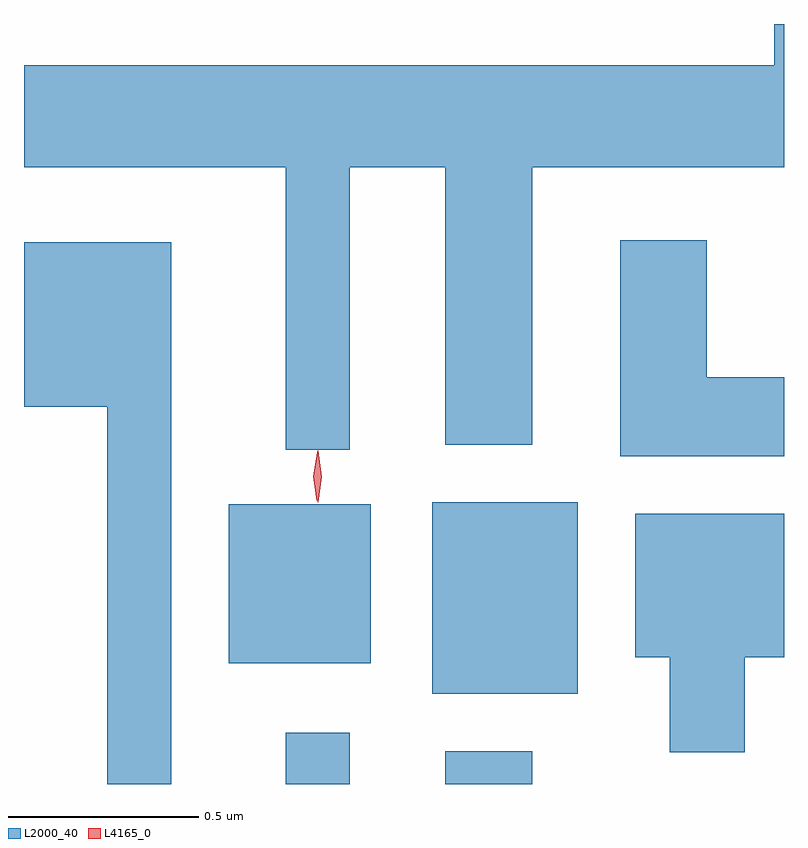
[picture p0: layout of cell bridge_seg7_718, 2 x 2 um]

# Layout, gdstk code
import gdstk
lib = gdstk.Library(unit=1e-6, precision=1e-09)
def R(c, l, rs):  # rectangles x0, y0, x1, y1
    for r in rs: c.add(gdstk.rectangle(r[:2], r[2:], *l))
def P(c, l, *ps):  # polygons
    for p in ps: c.add(gdstk.Polygon(p, *l))
L2000_40 = (2000, 40)
L4165_0 = (4165, 0)

bridge_seg7_718 = lib.new_cell('bridge_seg7_718')
R(bridge_seg7_718, L2000_40, [(920.861,1694.933,921.029,1695.068), (921.281,1694.933,921.509,1695.019), (921.246,1695.171,921.629,1695.674), (920.711,1695.251,921.084,1695.669)])
P(bridge_seg7_718, L2000_40, [(921.029,1696.556),(921.281,1696.556),(921.281,1695.826),(921.509,1695.826),(921.509,1696.556),(922.172,1696.556),(922.172,1696.933),(922.146,1696.933),(922.146,1696.824),(920.172,1696.824),(920.172,1696.556),(920.861,1696.556),(920.861,1695.813),(921.029,1695.813)],
  [(922.172,1696.004),(921.969,1696.004),(921.969,1696.364),(921.741,1696.364),(921.741,1695.796),(922.172,1695.796)],
  [(920.559,1696.359),(920.172,1696.359),(920.172,1695.926),(920.391,1695.926),(920.391,1694.933),(920.559,1694.933)],
  [(922.069,1695.266),(922.172,1695.266),(922.172,1695.644),(921.781,1695.644),(921.781,1695.266),(921.871,1695.266),(921.871,1695.016),(922.069,1695.016)])
P(bridge_seg7_718, L4165_0, [(920.942,1695.678),(920.942,1695.679),(920.933,1695.743),(920.944,1695.806),(920.944,1695.807),(920.945,1695.806),(920.953,1695.742),(920.943,1695.679)],
  [(920.945,1695.674),(920.945,1695.674),(920.935,1695.742),(920.945,1695.81),(920.945,1695.81),(920.946,1695.81),(920.955,1695.742),(920.946,1695.674)])

lib.write_gds('bridge_seg7_718.gds')
